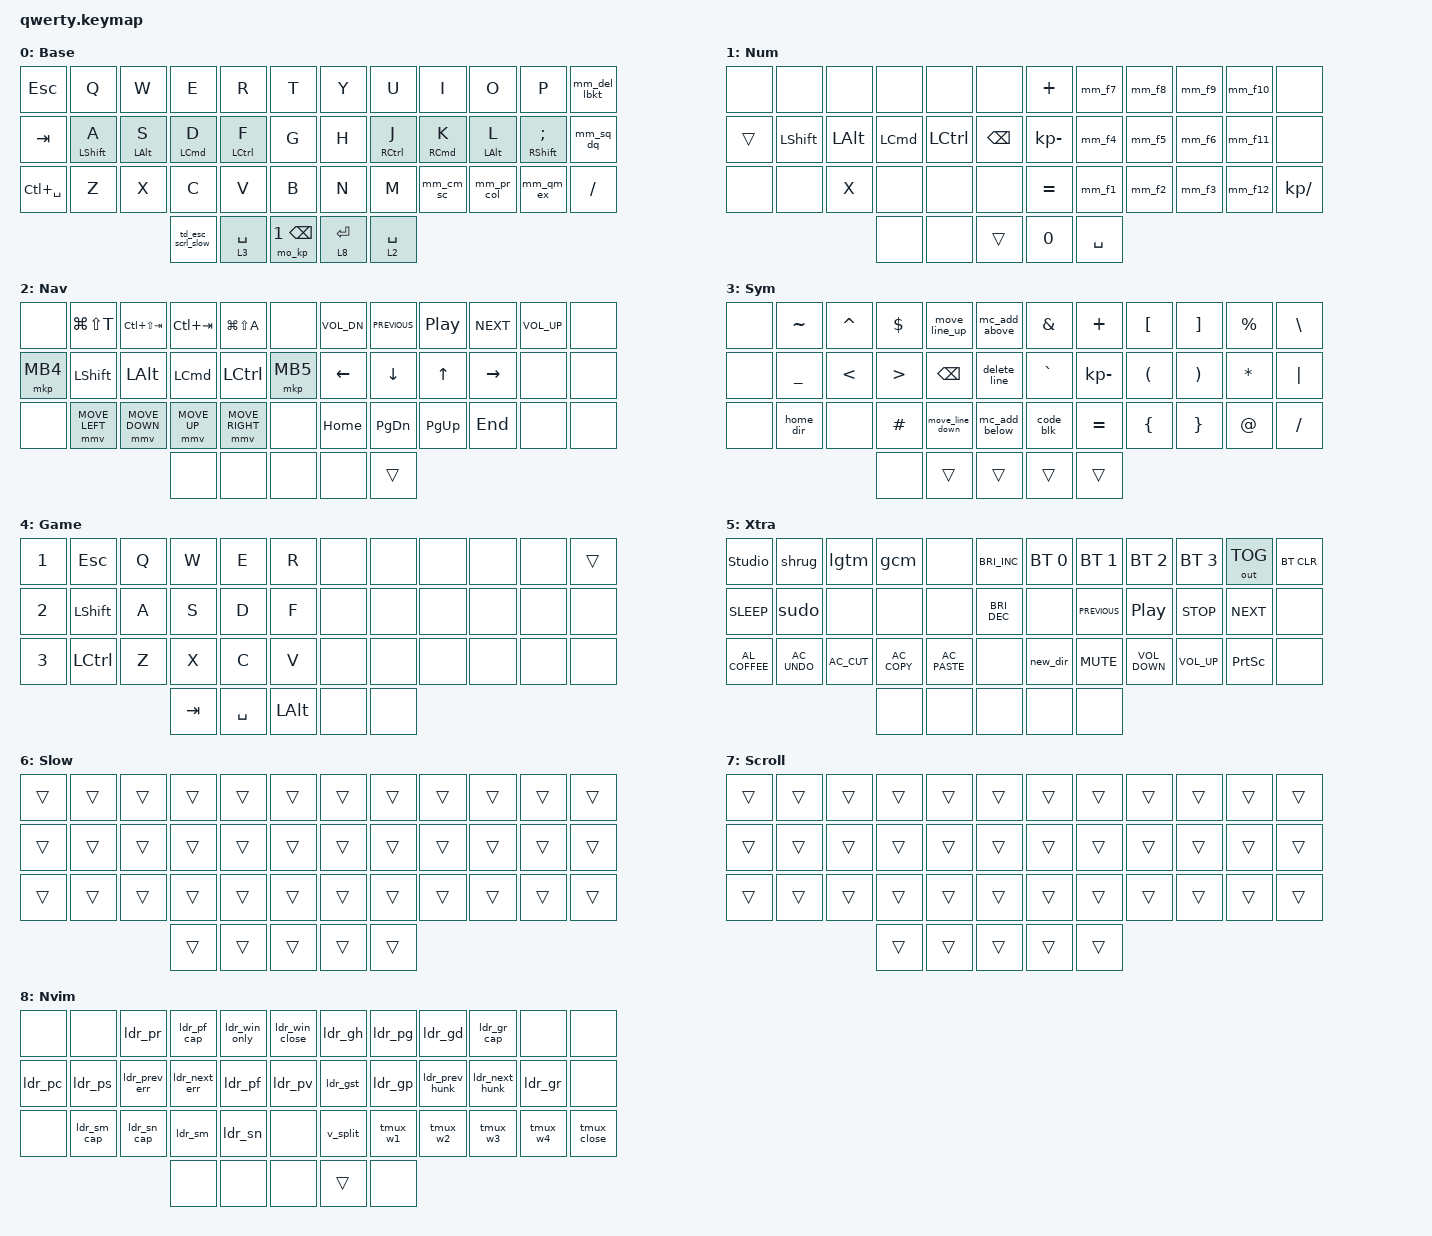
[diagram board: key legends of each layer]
/* upstream bindings and behaviors */
#include <behaviors.dtsi>
#include <dt-bindings/zmk/bt.h>
#include <dt-bindings/zmk/keys.h>
#include <dt-bindings/zmk/mouse.h>
#include <dt-bindings/zmk/outputs.h>
#include <behaviors/mouse_keys.dtsi>
#include <dt-bindings/zmk/ext_power.h>

/* local overlays */
#include "macros.dtsi"
#include "behaviors.dtsi"
#include "combos.dtsi"

/ {
/* --- KEYMAP CONFIG --- */
// ╭──────┬──────┬──────┬──────┬──────┬──────╮  ╭──────┬──────┬──────┬──────┬──────┬──────╮
//    00     01     02     03    04      05        06     07     08     09     10     11
// ├──────┼──────┼──────┼──────┼──────┼──────┤  ├──────┼──────┼──────┼──────┼──────┼──────┤
//    12     13     14     15    16      17        18     19     20     21     22     23
// ├──────┼──────┼──────┼──────┼──────┼──────┤  ├──────┼──────┼──────┼──────┼──────┼──────┤
//    24     25     26     27    28      29        30     31     32     33     34     35
// ╰──────┴──────┴──────┼──────┼──────┼──────┤  ├──────┼──────┼──────┴──────┴──────┴──────╯
//                         36     37     38        39     40
//                      ╰──────┴──────┴──────╯  ╰──────┴──────╯
// #define BASE    0
// #define NUM     1
// #define NAV     2
// #define SYM     3
// #define GAME    4
// #define EXTRAS  5
// #define SLOW    6
// #define SCROLL  7
// #define LEADER  8

    keymap {
        compatible = "zmk,keymap";
        BASE {
            display-name = "Base";
            bindings = <
// ╭───────────────┬────────────────┬────────────────┬─────────────────┬─────────────────┬──────╮  ╭──────┬──────────────────┬──────────────────┬─────────────────┬────────────────────────┬─────────────╮
    &kp ESC         &kp Q            &kp W            &kp E             &kp R             &kp T     &kp Y  &kp U              &kp I              &kp O             &kp P                     &mm_del_lbkt
// ├───────────────┼────────────────┼────────────────┼─────────────────┼─────────────────┼──────┤  ├──────┼──────────────────┼──────────────────┼─────────────────┼────────────────────────┼─────────────┤
    &kp TAB         &ht_left LSHFT A  &ht_left LALT S  &ht_left LCMD D  &ht_left LCTRL F  &kp G     &kp H  &ht_right RCTRL J  &ht_right RCMD K  &ht_right LALT L  &ht_right RSHFT SEMICOLON  &mm_sq_dq
// ├───────────────┼────────────────┼────────────────┼─────────────────┼─────────────────┼──────┤  ├──────┼──────────────────┼──────────────────┼─────────────────┼────────────────────────┼─────────────┤
    &kp LC(SPACE)       &kp Z            &kp X            &kp C             &kp V             &kp B     &kp N  &kp M              &mm_cm_sc          &mm_pr_col        &mm_qm_ex                 &kp FSLH
// ╰───────────────┴────────────────┴────────────────┼─────────────────┼─────────────────┼──────┤  ├──────┼──────────────────┼──────────────────┴─────────────────┴────────────────────────┴─────────────╯
                                                             &td_esc_scrl_slow   &lt_nav 3 SPACE  &mo_kp 1 BACKSPACE     &lt_nav 8 ENTER  &lt_nav 2 SPACE
                                                         // ╰──────────────────┴─────────┴──────╯  ╰──────────┴──────────────╯
            >;
        };

        NUM {
            display-name = "Num";
            bindings = <
&none   &none  &none   &none  &none          &none            &kp PLUS     &mm_f7             &mm_f8             &mm_f9             &mm_f10            &none
&trans   &kp LSHFT  &kp LALT  &kp LCMD  &kp LCTRL  &kp BACKSPACE       &kp KP_MINUS &mm_f4             &mm_f5             &mm_f6             &mm_f11            &none
&none    &none  &kp X  &none  &none          &none            &kp EQUAL    &mm_f1             &mm_f2             &mm_f3             &mm_f12            &kp KP_SLASH
                       &none  &none          &trans           &kp N0     &kp SPACE
            >;
        };

        NAV {
            display-name = "Nav";
            bindings = <
&none    &kp LG(LS(T))   &kp LC(LS(TAB)) &kp LC(TAB)  &kp LG(LS(A))      &none      &kp C_VOL_DN     &kp C_PREVIOUS     &kp C_PP     &kp C_NEXT      &kp C_VOL_UP      &none
&mkp MB4 &kp LSHFT       &kp LALT        &kp LCMD     &kp LCTRL       &mkp MB5            &kp LEFT_ARROW   &kp DOWN           &kp UP       &kp RIGHT_ARROW &none             &none
&none    &mmv MOVE_LEFT  &mmv MOVE_DOWN  &mmv MOVE_UP &mmv MOVE_RIGHT &none               &kp HOME         &kp PG_DN          &kp PG_UP    &kp END         &none             &none
                                                      &none   &none   &none               &none   &trans
            >;
        };

        SYM {
            display-name = "Sym";
            bindings = <
&none  &kp TILDE  &kp CARET  &kp DLLR  &move_line_up    &mc_add_above      &kp AMPS   &kp PLUS     &kp LBKT  &kp RBKT  &kp PRCNT  &kp BSLH
&none  &kp UNDER  &kp LT    &kp GT     &kp BACKSPACE    &delete_line       &kp GRAVE  &kp KP_MINUS &kp LPAR  &kp RPAR  &kp ASTRK  &kp PIPE
&none  &home_dir  &none     &kp HASH   &move_line_down  &mc_add_below      &code_blk  &kp EQUAL    &kp LBRC  &kp RBRC  &kp AT     &kp FSLH
                                       &none  &trans     &trans            &trans   &trans
            >;
        };

        GAME {
            display-name = "Game";
            bindings = <
&kp N1  &kp ESC    &kp Q  &kp W   &kp E      &kp R           &none  &none  &none  &none  &none  &trans
&kp N2  &kp LSHFT  &kp A  &kp S   &kp D      &kp F           &none  &none  &none  &none  &none  &none
&kp N3  &kp LCTRL  &kp Z  &kp X   &kp C      &kp V           &none  &none  &none  &none  &none  &none
                          &kp TAB &kp SPACE  &kp LEFT_ALT    &none  &none
            >;
        };

        EXTRAS {
            display-name = "Xtra";
            bindings = <
&studio_unlock    &shrug          &lgtm           &gcm            &none           &kp C_BRIGHTNESS_INC    &bt BT_SEL 0  &bt BT_SEL 1    &bt BT_SEL 2       &bt BT_SEL 3  &out OUT_TOG         &bt BT_CLR
&kp C_SLEEP       &sudo           &none           &none           &none           &kp C_BRIGHTNESS_DEC    &none         &kp C_PREVIOUS  &kp C_PLAY_PAUSE   &kp C_STOP    &kp C_NEXT           &none
&kp C_AL_COFFEE   &kp C_AC_UNDO   &kp C_AC_CUT    &kp C_AC_COPY   &kp C_AC_PASTE  &none                   &new_dir      &kp K_MUTE      &kp C_VOLUME_DOWN  &kp C_VOLUME_UP   &kp PRINTSCREEN  &none
                                                                                   &none  &none  &none    &none         &none
            >;
        };

        SLOW {
            display-name = "Slow";
            bindings = <
&trans    &trans    &trans    &trans    &trans    &trans    &trans    &trans    &trans    &trans    &trans    &trans
&trans    &trans    &trans    &trans    &trans    &trans    &trans    &trans    &trans    &trans    &trans    &trans
&trans    &trans    &trans    &trans    &trans    &trans    &trans    &trans    &trans    &trans    &trans    &trans
                              &trans    &trans    &trans    &trans    &trans
            >;
        };

        SCROLL {
            display-name = "Scroll";
            bindings = <
&trans    &trans    &trans    &trans    &trans    &trans    &trans    &trans    &trans    &trans    &trans    &trans
&trans    &trans    &trans    &trans    &trans    &trans    &trans    &trans    &trans    &trans    &trans    &trans
&trans    &trans    &trans    &trans    &trans    &trans    &trans    &trans    &trans    &trans    &trans    &trans
                              &trans    &trans    &trans    &trans    &trans
            >;
        };

        LEADER {
            display-name = "Nvim";
            bindings = <
// ╭──────┬──────────────────┬──────────────┬──────────────┬────────────────┬────────────────╮  ╭────────────┬──────────┬────────────────┬────────────────┬──────┬──────╮
   &none   &none              &ldr_pr        &ldr_pf_cap    &ldr_win_only    &ldr_win_close      &ldr_gh      &ldr_pg    &ldr_gd          &ldr_gr_cap      &none  &none
// ├──────┼──────────────────┼──────────────┼──────────────┼────────────────┼────────────────┤  ├────────────┼──────────┼────────────────┼────────────────┼──────┼──────┤
   &ldr_pc &ldr_ps            &ldr_prev_err  &ldr_next_err  &ldr_pf          &ldr_pv             &ldr_gst     &ldr_gp    &ldr_prev_hunk   &ldr_next_hunk   &ldr_gr  &none
// ├──────┼──────────────────┼──────────────┼──────────────┼────────────────┼────────────────┤  ├────────────┼──────────┼────────────────┼────────────────┼──────┼──────┤
   &none   &ldr_sm_cap        &ldr_sn_cap    &ldr_sm        &ldr_sn          &none               &v_split     &tmux_w1   &tmux_w2         &tmux_w3         &tmux_w4  &tmux_close
// ╰──────┴──────────────────┴──────────────┼──────────────┼────────────────┼────────────────┤  ├────────────┼──────────┼────────────────┴────────────────┴──────┴──────╯
                                             &none          &none            &none               &trans       &none
            >;
        };
    };
};
